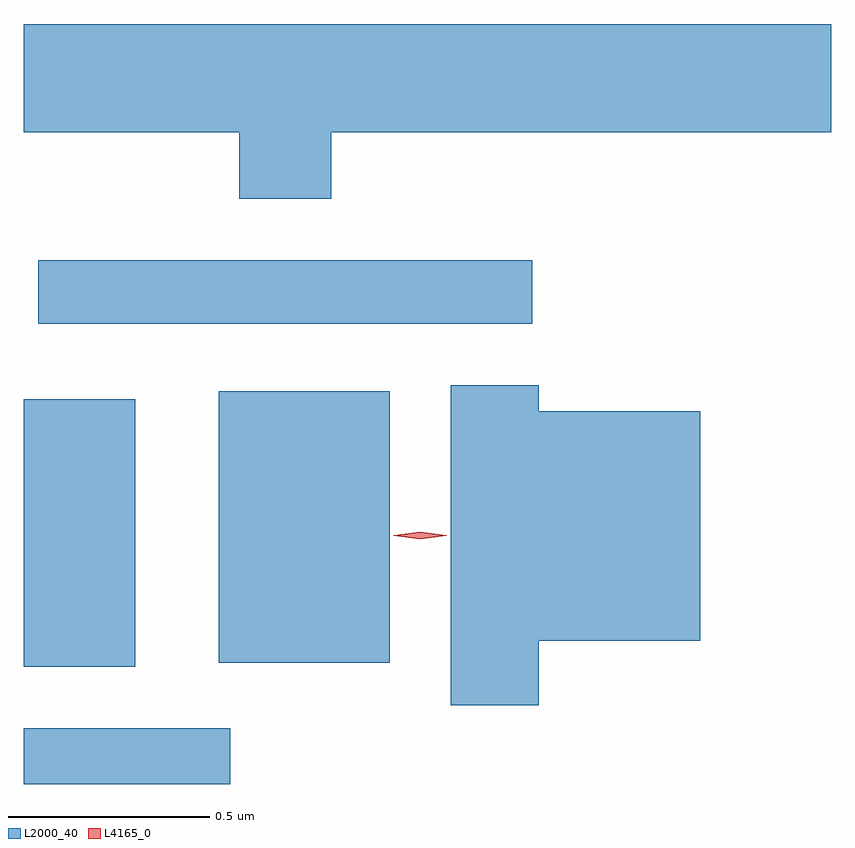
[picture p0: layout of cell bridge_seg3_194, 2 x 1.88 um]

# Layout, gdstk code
import gdstk
lib = gdstk.Library(unit=1e-6, precision=1e-09)
def R(c, l, rs):  # rectangles x0, y0, x1, y1
    for r in rs: c.add(gdstk.rectangle(r[:2], r[2:], *l))
def P(c, l, *ps):  # polygons
    for p in ps: c.add(gdstk.Polygon(p, *l))
L2000_40 = (2000, 40)
L4165_0 = (4165, 0)

bridge_seg3_194 = lib.new_cell('bridge_seg3_194')
R(bridge_seg3_194, L2000_40, [(769.218,1146.601,769.729,1146.739), (769.218,1146.891,769.494,1147.554), (769.701,1146.901,770.124,1147.574), (769.253,1147.741,770.478,1147.899)])
P(bridge_seg3_194, L2000_40, [(769.979,1148.216),(771.218,1148.216),(771.218,1148.484),(769.218,1148.484),(769.218,1148.216),(769.751,1148.216),(769.751,1148.051),(769.979,1148.051)],
  [(770.494,1146.956),(770.894,1146.956),(770.894,1147.524),(770.494,1147.524),(770.494,1147.589),(770.276,1147.589),(770.276,1146.796),(770.494,1146.796)])
P(bridge_seg3_194, L4165_0, [(770.2,1147.207),(770.134,1147.216),(770.134,1147.216),(770.134,1147.217),(770.2,1147.226),(770.265,1147.217),(770.266,1147.217),(770.265,1147.216)])

lib.write_gds('bridge_seg3_194.gds')
